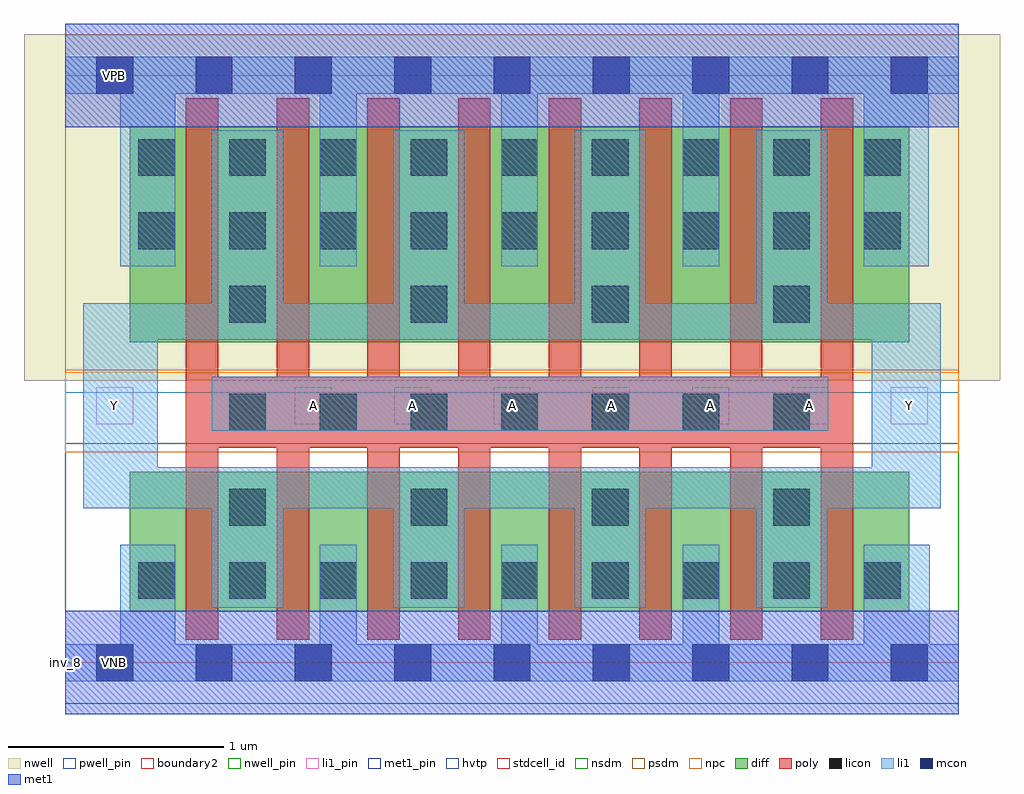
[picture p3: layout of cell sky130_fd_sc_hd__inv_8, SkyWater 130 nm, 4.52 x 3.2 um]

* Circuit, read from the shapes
.subckt sky130_fd_sc_hd__inv_8 A VGND VNB VPB VPWR Y
XM1 Y A VGND VNB sky130_fd_pr__nfet_01v8 w=0.65 l=0.15 m=8
XM2 Y A VPWR VPB sky130_fd_pr__pfet_01v8_hvt w=1 l=0.15 m=8
.ends

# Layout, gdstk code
import gdstk
lib = gdstk.Library(unit=1e-6, precision=1e-09)
def R(c, l, rs):  # rectangles x0, y0, x1, y1
    for r in rs: c.add(gdstk.rectangle(r[:2], r[2:], *l))
def A(c, l, x, y, w, h, nx, ny, dx, dy):  # array of equal rectangles
    R(c, l, [(x+i*dx, y+j*dy, x+i*dx+w, y+j*dy+h) for i in range(nx) for j in range(ny)])
def P(c, l, *ps):  # polygons
    for p in ps: c.add(gdstk.Polygon(p, *l))
nwell_pin = (64, 16)
nwell = (64, 20)
diff = (65, 20)
poly = (66, 20)
licon = (66, 44)
li1_pin = (67, 16)
li1 = (67, 20)
mcon = (67, 44)
met1_pin = (68, 16)
met1 = (68, 20)
hvtp = (78, 44)
stdcell_id = (81, 4)
nsdm = (93, 44)
psdm = (94, 20)
npc = (95, 20)
pwell_pin = (122, 16)
boundary2 = (236, 0)

sky130_fd_sc_hd__inv_8 = lib.new_cell('sky130_fd_sc_hd__inv_8')
R(sky130_fd_sc_hd__inv_8, nwell_pin, [(0.145,2.635,0.315,2.805)])
R(sky130_fd_sc_hd__inv_8, nwell, [(-0.19,1.305,4.33,2.91)])
R(sky130_fd_sc_hd__inv_8, diff, [(0.3,0.235,3.91,0.885), (0.3,1.485,3.91,2.485)])
P(sky130_fd_sc_hd__inv_8, poly, [(3.65,2.615),(3.5,2.615),(3.5,1.325),(3.23,1.325),(3.23,2.615),(3.08,2.615),(3.08,1.325),(2.81,1.325),(2.81,2.615),(2.66,2.615),(2.66,1.325),(2.39,1.325),(2.39,2.615),(2.24,2.615),(2.24,1.325),(1.97,1.325),(1.97,2.615),(1.82,2.615),(1.82,1.325),(1.55,1.325),(1.55,2.615),(1.4,2.615),(1.4,1.325),(1.13,1.325),(1.13,2.615),(0.98,2.615),(0.98,1.325),(0.71,1.325),(0.71,2.615),(0.56,2.615),(0.56,0.105),(0.71,0.105),(0.71,0.995),(0.98,0.995),(0.98,0.105),(1.13,0.105),(1.13,0.995),(1.4,0.995),(1.4,0.105),(1.55,0.105),(1.55,0.995),(1.82,0.995),(1.82,0.105),(1.97,0.105),(1.97,0.995),(2.24,0.995),(2.24,0.105),(2.39,0.105),(2.39,0.995),(2.66,0.995),(2.66,0.105),(2.81,0.105),(2.81,0.995),(3.08,0.995),(3.08,0.105),(3.23,0.105),(3.23,0.995),(3.5,0.995),(3.5,0.105),(3.65,0.105)])
A(sky130_fd_sc_hd__inv_8, licon, 0.34, 0.295, 0.17, 0.17, 9, 2, 0.42, 1.62)
A(sky130_fd_sc_hd__inv_8, licon, 0.76, 0.635, 0.17, 0.17, 4, 2, 0.84, 0.94)
A(sky130_fd_sc_hd__inv_8, licon, 0.76, 1.075, 0.17, 0.17, 7, 1, 0.42, 0)
A(sky130_fd_sc_hd__inv_8, licon, 0.34, 2.255, 0.17, 0.17, 9, 1, 0.42, 0)
A(sky130_fd_sc_hd__inv_8, li1_pin, 1.065, 1.105, 0.17, 0.17, 7, 1, 0.46, 0)
R(sky130_fd_sc_hd__inv_8, li1_pin, [(0.145,1.105,0.315,1.275)])
R(sky130_fd_sc_hd__inv_8, li1, [(0.68,1.075,3.535,1.325)])
P(sky130_fd_sc_hd__inv_8, li1, [(4.055,1.665),(3.735,1.665),(3.735,0.905),(0.43,0.905),(0.43,1.495),(3.735,1.495),(3.735,1.665),(3.53,1.665),(3.53,2.465),(3.2,2.465),(3.2,1.665),(2.69,1.665),(2.69,2.465),(2.36,2.465),(2.36,1.665),(1.85,1.665),(1.85,2.465),(1.52,2.465),(1.52,1.665),(1.01,1.665),(1.01,2.465),(0.68,2.465),(0.68,1.665),(0.085,1.665),(0.085,0.715),(0.68,0.715),(0.68,0.255),(1.01,0.255),(1.01,0.715),(1.52,0.715),(1.52,0.255),(1.85,0.255),(1.85,0.715),(2.36,0.715),(2.36,0.255),(2.69,0.255),(2.69,0.715),(3.2,0.715),(3.2,0.255),(3.53,0.255),(3.53,0.715),(4.055,0.715)],
  [(4.14,0.085),(4.005,0.085),(4.005,0.545),(3.7,0.545),(3.7,0.085),(3.03,0.085),(3.03,0.545),(2.86,0.545),(2.86,0.085),(2.19,0.085),(2.19,0.545),(2.02,0.545),(2.02,0.085),(1.35,0.085),(1.35,0.545),(1.18,0.545),(1.18,0.085),(0.51,0.085),(0.51,0.545),(0.255,0.545),(0.255,0.085),(0,0.085),(0,-0.085),(4.14,-0.085)],
  [(4.14,2.805),(0,2.805),(0,2.635),(0.255,2.635),(0.255,1.835),(0.51,1.835),(0.51,2.635),(1.18,2.635),(1.18,1.835),(1.35,1.835),(1.35,2.635),(2.02,2.635),(2.02,1.835),(2.19,1.835),(2.19,2.635),(2.86,2.635),(2.86,1.835),(3.03,1.835),(3.03,2.635),(3.7,2.635),(3.7,1.835),(4,1.835),(4,2.635),(4.14,2.635)])
A(sky130_fd_sc_hd__inv_8, mcon, 0.145, -0.085, 0.17, 0.17, 9, 2, 0.46, 2.72)
R(sky130_fd_sc_hd__inv_8, met1_pin, [(0.145,-0.085,0.315,0.085), (0.145,2.635,0.315,2.805)])
R(sky130_fd_sc_hd__inv_8, hvtp, [(0,1.25,4.14,2.72)])
R(sky130_fd_sc_hd__inv_8, stdcell_id, [(0,0,4.14,2.72)])
R(sky130_fd_sc_hd__inv_8, nsdm, [(0,-0.19,4.14,1.015)])
R(sky130_fd_sc_hd__inv_8, psdm, [(0,1.355,4.14,2.91)])
R(sky130_fd_sc_hd__inv_8, npc, [(0,0.975,4.14,1.345)])
R(sky130_fd_sc_hd__inv_8, pwell_pin, [(0.145,-0.085,0.315,0.085)])
R(sky130_fd_sc_hd__inv_8, boundary2, [(0,0,4.14,2.72)])
sky130_fd_sc_hd__inv_8.add(gdstk.FlexPath([(0,2.72),(4.14,2.72)], 0.48, ends="flush", simple_path=True, layer=68, datatype=20))  # met1
sky130_fd_sc_hd__inv_8.add(gdstk.FlexPath([(0,0),(4.14,0)], 0.48, ends="flush", simple_path=True, layer=68, datatype=20))  # met1
sky130_fd_sc_hd__inv_8.add(gdstk.Label('A', (1.15,1.19), layer=67, texttype=5))
sky130_fd_sc_hd__inv_8.add(gdstk.Label('A', (1.61,1.19), layer=67, texttype=5))
sky130_fd_sc_hd__inv_8.add(gdstk.Label('A', (2.07,1.19), layer=67, texttype=5))
sky130_fd_sc_hd__inv_8.add(gdstk.Label('A', (2.53,1.19), layer=67, texttype=5))
sky130_fd_sc_hd__inv_8.add(gdstk.Label('A', (2.99,1.19), layer=67, texttype=5))
sky130_fd_sc_hd__inv_8.add(gdstk.Label('A', (3.45,1.19), layer=67, texttype=5))
sky130_fd_sc_hd__inv_8.add(gdstk.Label('Y', (3.91,1.19), layer=67, texttype=5))
sky130_fd_sc_hd__inv_8.add(gdstk.Label('Y', (0.23,1.19), layer=67, texttype=5))
sky130_fd_sc_hd__inv_8.add(gdstk.Label('VNB', (0.23,0), layer=64, texttype=59))
sky130_fd_sc_hd__inv_8.add(gdstk.Label('VPB', (0.23,2.72), layer=64, texttype=5))
sky130_fd_sc_hd__inv_8.add(gdstk.Label('VGND', (0.23,0), layer=68, texttype=5))
sky130_fd_sc_hd__inv_8.add(gdstk.Label('VPWR', (0.23,2.72), layer=68, texttype=5))
sky130_fd_sc_hd__inv_8.add(gdstk.Label('inv_8', (0,0), layer=83, texttype=44))

lib.write_gds('sky130_fd_sc_hd__inv_8.gds')
